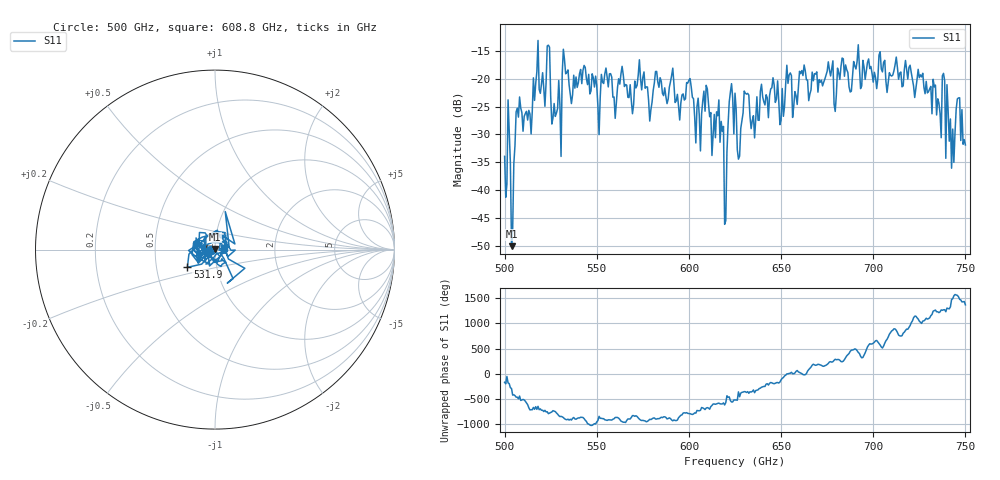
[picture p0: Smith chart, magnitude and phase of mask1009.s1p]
!Created with skrf (http://scikit-rf.org).
# GHz S MA R 50.0
!freq magS11 angS11
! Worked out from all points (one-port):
!   401 points, 500 GHz to 750 GHz, reference 50 ohm
!   lowest |S11| = -50.0 dB at 503.8 GHz (marker M1), VSWR 1.01, Z = 50.1 + j0.298 ohm
!   |S11| at or under -10 dB: start of sweep to end of sweep
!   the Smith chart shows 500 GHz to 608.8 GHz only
!   S11 on the Smith chart (normalised r, x): 500 GHz: 0.96, -0.01; 531.9 GHz: 0.72, -0.15; 608.8 GHz: 1.10, +0.02
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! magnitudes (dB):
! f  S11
! 500 GHz  -33.9
! 503.8 GHz  -50.0
! 507.5 GHz  -26.9
! 513.8 GHz  -26.3
! 516.9 GHz  -20.9
! 523.8 GHz  -14.0
! 526.9 GHz  -24.5
! 531.2 GHz  -19.2
! 531.9 GHz  -14.8
! 562.5 GHz  -21.0
! 593.8 GHz  -22.8
! 600 GHz  -20.3
! 605 GHz  -23.5
! 608.8 GHz  -25.8
! 617.5 GHz  -27.7
! 619.4 GHz  -46.1
! 622.5 GHz  -22.4
! 625 GHz  -22.6
! 627.5 GHz  -33.9
! 631.2 GHz  -22.8
! 635 GHz  -26.6
! 656.2 GHz  -27.0
! 687.5 GHz  -22.4
! 718.8 GHz  -20.1
! 738.8 GHz  -20.3
! 742.5 GHz  -36.0
! 746.9 GHz  -23.4
! 750 GHz  -31.9
